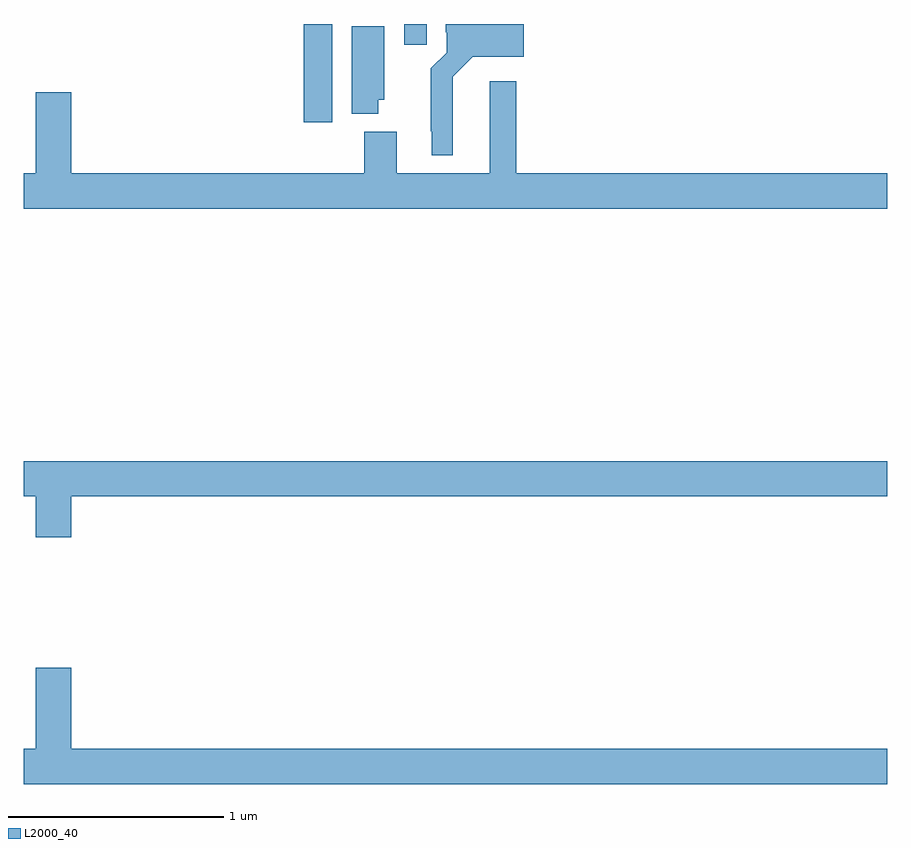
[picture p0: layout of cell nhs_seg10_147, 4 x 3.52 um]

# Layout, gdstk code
import gdstk
lib = gdstk.Library(unit=1e-6, precision=1e-09)
def R(c, l, rs):  # rectangles x0, y0, x1, y1
    for r in rs: c.add(gdstk.rectangle(r[:2], r[2:], *l))
def P(c, l, *ps):  # polygons
    for p in ps: c.add(gdstk.Polygon(p, *l))
L2000_40 = (2000, 40)

nhs_seg10_147 = lib.new_cell('nhs_seg10_147')
R(nhs_seg10_147, L2000_40, [(118.298,1306.044,118.429,1306.5), (118.763,1306.404,118.867,1306.5)])
P(nhs_seg10_147, L2000_40, [(118.987,1306.256),(119.079,1306.349),(119.317,1306.349),(119.317,1306.5),(118.955,1306.5),(118.955,1306.462),(118.959,1306.462),(118.959,1306.368),(118.885,1306.294),(118.885,1306.003),(118.889,1306.003),(118.889,1305.893),(118.987,1305.893)],
  [(118.642,1306.149),(118.669,1306.149),(118.669,1306.49),(118.52,1306.49),(118.52,1306.085),(118.642,1306.085)],
  [(121,1305.808),(119.282,1305.808),(119.282,1306.234),(119.159,1306.234),(119.159,1305.808),(118.729,1305.808),(118.729,1306),(118.577,1306),(118.577,1305.808),(117.22,1305.808),(117.22,1306.183),(117.056,1306.183),(117.056,1305.808),(117,1305.808),(117,1305.644),(121,1305.644)],
  [(117.22,1304.312),(121,1304.312),(121,1304.476),(117,1304.476),(117,1304.312),(117.056,1304.312),(117.056,1304.124),(117.22,1304.124)],
  [(121,1303.144),(117.22,1303.144),(117.22,1303.519),(117.056,1303.519),(117.056,1303.144),(117,1303.144),(117,1302.98),(121,1302.98)])

lib.write_gds('nhs_seg10_147.gds')
